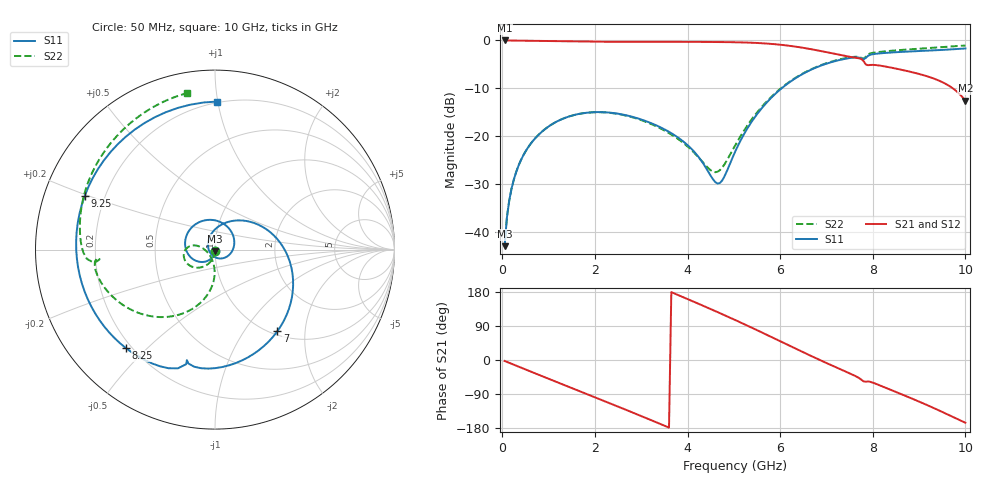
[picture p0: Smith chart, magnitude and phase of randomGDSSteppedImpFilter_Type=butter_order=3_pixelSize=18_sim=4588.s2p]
! freq	dB(S11)	phase(S11)	dB(S12)	phase(S12)
!  dB(S21)	phase(S21)	dB(S22)	phase(S22)
!S-par simulation data
#  GHz  S  DB  R 50
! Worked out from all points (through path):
!   200 points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, 50 MHz to 10 GHz, reference 50 ohm
!   highest |S21| = 0.00 dB at 50 MHz (marker M1); lowest = -12.6 dB at 10 GHz (marker M2)
!   group delay of S21, straight-line fit = 148 ps
!   lowest |S11| = -42.9 dB at 50 MHz (marker M3), VSWR 1.01, Z = 50 - j0.714 ohm
!   |S11| at or under -10 dB: start of sweep to 6.03 GHz
!   |S22| runs from -42.9 to -1.1 dB; largest |S21 - S12| = 0
!   S11 on the Smith chart (normalised r, x): 50 MHz: 1.00, -0.01; 7 GHz: 1.06, -1.44; 8.25 GHz: 0.18, -0.43; 9.25 GHz: 0.13, +0.19; 10 GHz: 0.19, +0.99
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0.05  -42.91 -92.6  -0.00 -2.5  -0.00 -2.5  -42.88 -91.5
0.1  -36.89 -95.9  -0.01 -5.0  -0.01 -5.0  -36.87 -93.7
0.2  -30.91 -102.2  -0.02 -10.0  -0.02 -10.0  -30.88 -97.7
0.5  -23.18 -120.8  -0.06 -24.9  -0.06 -24.9  -23.17 -109.4
1.15  -17.05 -161.3  -0.15 -56.9  -0.15 -56.9  -17.04 -134.0
1.75  -15.17 160.4  -0.24 -86.2  -0.24 -86.2  -15.18 -154.5
2.5  -15.28 108.3  -0.28 -123.0  -0.28 -123.0  -15.34 -175.8
3.4  -18.05 34.6  -0.28 -168.2  -0.28 -168.2  -18.27 168.9
4  -21.82 -25.0  -0.29 160.9  -0.29 160.9  -22.11 170.6
4.65  -29.84 -144.3  -0.33 126.3  -0.33 126.3  -27.38 -135.5
5.05  -22.75 115.8  -0.38 104.3  -0.38 104.3  -21.52 -94.7
5.75  -12.53 42.4  -0.67 64.3  -0.67 64.3  -12.32 -98.2
6.25  -8.39 1.9  -1.18 34.9  -1.18 34.9  -8.30 -115.0
6.7  -5.96 -31.6  -1.88 8.8  -1.88 8.8  -5.87 -132.9
7  -4.84 -52.7  -2.44 -8.0  -2.44 -8.0  -4.74 -145.2
7.55  -3.60 -89.8  -3.50 -38.0  -3.50 -38.0  -3.46 -167.9
8.25  -2.62 -132.2  -5.40 -71.8  -5.40 -71.8  -2.28 168.0
8.35  -2.54 -138.8  -5.58 -76.8  -5.58 -76.8  -2.19 164.2
8.85  -2.28 -172.7  -6.62 -102.0  -6.62 -102.0  -1.82 145.7
9.25  -2.10 157.6  -7.72 -123.1  -7.72 -123.1  -1.56 131.0
9.6  -1.92 128.3  -9.19 -142.7  -9.19 -142.7  -1.32 117.4
10  -1.67 89.2  -12.59 -165.4  -12.59 -165.4  -1.06 100.1
